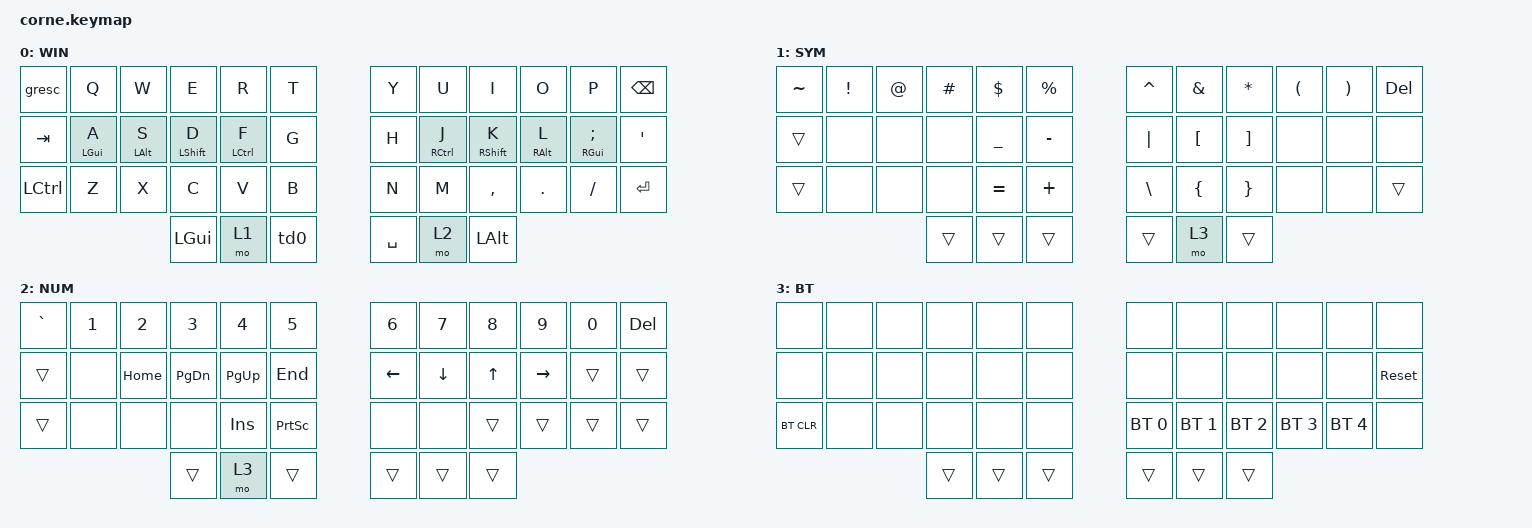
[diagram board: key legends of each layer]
/*
 * Copyright (c) 2020 The ZMK Contributors
 *
 * SPDX-License-Identifier: MIT
 */

#include <behaviors.dtsi>
#include <dt-bindings/zmk/bt.h>
#include <dt-bindings/zmk/keys.h>

&caps_word {
    continue-list = <UNDERSCORE MINUS BACKSPACE PERIOD COMMA>;
};


/ {
    behaviors {
        hml: homerow_mods_left {
            compatible = "zmk,behavior-hold-tap";
            label = "HOMEROW_MODS_LEFT";
            #binding-cells = <2>;
            tapping-term-ms = <250>;
            quick-tap-ms = <175>;
            require-prior-idle-ms = <150>;
            flavor = "balanced";
            bindings = <&kp>, <&kp>;
            hold-trigger-key-positions = <6 7 8 9 10 11 18 19 20 21 22 23 30 31 32 33 34 35 39 40 41>;
            hold-trigger-on-release;
        };

        hmr: homerow_mods_right {
            compatible = "zmk,behavior-hold-tap";
            label = "HOMEROW_MODS_RIGHT";
            #binding-cells = <2>;
            tapping-term-ms = <250>;
            quick-tap-ms = <175>;
            require-prior-idle-ms = <150>;
            flavor = "balanced";
            bindings = <&kp>, <&kp>;
            hold-trigger-key-positions = <0 1 2 3 4 5 12 13 14 15 16 17 24 25 26 27 28 29 36 37 38>;
            hold-trigger-on-release;
        };

        td0: tap_dance_0 {
            compatible = "zmk,behavior-tap-dance";
            label = "TAP_DANCE_0";
            #binding-cells = <0>;
            tapping-term-ms = <200>;
            bindings = <&kp LSHIFT>, <&caps_word>;
        };
    };
};
    
/ {
    keymap {
        compatible = "zmk,keymap";

        default_layer {
            display-name = "WIN";
            bindings = <
&gresc     &kp Q  &kp W  &kp E  &kp R  &kp T  &kp Y  &kp U  &kp I  &kp O  &kp P  &kp BSPC
&kp TAB    &hml LGUI A  &hml LALT S  &hml LSHIFT D  &hml LCTRL F  &kp G  &kp H  &hmr RCTRL J  &hmr RSHIFT K  &hmr RALT L  &hmr RGUI SEMI &kp SQT
&kp LCTRL  &kp Z  &kp X  &kp C  &kp V  &kp B  &kp N  &kp M  &kp COMMA  &kp DOT  &kp FSLH  &kp RET
                                   &kp LEFT_GUI  &mo 1    &td0    &kp SPACE  &mo 2  &kp LEFT_ALT
            >;
        };

        lower_layer {
            display-name = "SYM";
            bindings = <
&kp TILDE  &kp EXCL  &kp AT  &kp HASH  &kp DLLR   &kp PRCNT    &kp CARET  &kp AMPS  &kp STAR  &kp LPAR  &kp RPAR  &kp DEL
&trans     &none     &none   &none     &kp UNDER  &kp MINUS    &kp PIPE   &kp LBKT  &kp RBKT  &none     &none     &none
&trans     &none     &none   &none     &kp EQUAL  &kp PLUS     &kp BSLH   &kp LBRC  &kp RBRC  &none     &none     &trans
                             &trans    &trans     &trans       &trans     &mo 3     &trans
            >;
        };

        raise_layer {
            display-name = "NUM";
            bindings = <
&kp GRAVE  &kp N1  &kp N2    &kp N3         &kp N4       &kp N5       &kp N6    &kp N7    &kp N8  &kp N9     &kp N0  &kp DELETE
&trans     &none   &kp HOME  &kp PAGE_DOWN  &kp PAGE_UP  &kp END      &kp LEFT  &kp DOWN  &kp UP  &kp RIGHT  &trans  &trans
&trans     &none   &none     &none          &kp INS      &kp PSCRN    &none     &none     &trans  &trans     &trans  &trans
                             &trans         &mo 3        &trans       &trans    &trans    &trans
            >;
        };

        adjust_layer {
            display-name = "BT";
            bindings = <
&none       &none  &none  &none   &none   &none         &none         &none         &none         &none         &none         &none
&none       &none  &none  &none   &none   &none         &none         &none         &none         &none         &none         &sys_reset
&bt BT_CLR  &none  &none  &none   &none   &none         &bt BT_SEL 0  &bt BT_SEL 1  &bt BT_SEL 2  &bt BT_SEL 3  &bt BT_SEL 4  &none
                              &trans  &trans  &trans        &trans        &trans        &trans
            >;
        };
    };
};
